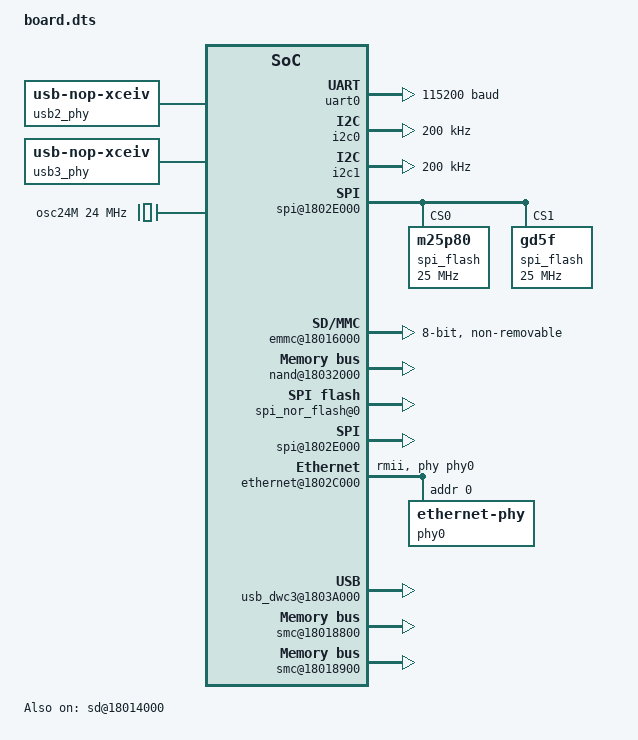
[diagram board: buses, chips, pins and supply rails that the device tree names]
/*
* ALi platform DTS
* Copyright(C) 2014 ALi Corporation. All rights reserved.
*
* This program is free software; you can redistribute it and/or modify
* it under the terms of the GNU General Public License version 2 as
* published by the Free Software Foundation.
*
* This program is distributed in the hope that it will be useful,
* but WITHOUT ANY WARRANTY; without even the implied warranty of
* MERCHANTABILITY or FITNESS FOR A PARTICULAR PURPOSE.  See the
* GNU General Public License for more details.
*/

/dts-v1/;
/include/ "ali_3505.dtsi"
/include/ "see.dtsi"
/include/ "mapping.dtsi"
/ {
	board {
		label = "M3515-demo-board";
	};

	aliases {
		serial0 = &uart0;
	};

	uart0:uart@0xB8018300{
		compatible = "ns16550a";
		reg = <0xB8018300 0x0C>;
		clock-frequency	= <1843200>;
		current-speed = <115200>;
		reg-offset = <0>;
		reg-shift = <0>;
		fifo-size = <16>;
		reg-io-width = <1>;
	};
	i2c0: i2c@0xB8018200 {
		#address-cells = <1>;
		#size-cells = <1>;
		compatible = "alitech,i2c";
		clock-names = "scb_clk";
		reg = <0xB8018200 0x20>;
		//interrupts = <18 >;
		clock-frequency = <200000>; /* 400KHz is our max, 100KHz is the processor min */
		pinctrl-names = "default";
	};
	i2c1: i2c@0xB8018700 {
		#address-cells = <1>;
		#size-cells = <1>;
		compatible = "alitech,i2c";
		clock-names = "scb_clk";
		reg = <0xB8018700 0x20>;
		//interrupts = <25>;
		clock-frequency = <200000>; /* 400KHz is our max, 100KHz is the processor min */
		pinctrl-names = "default";
	};

spi@1802E000 {
		status = "okay";
		/* NOR flash */
		spi_flash@0 {
			#address-cells = <1>;
			#size-cells = <1>;
			compatible = "m25p80";
			reg = <0>;
			spi-max-frequency = <25000000>;
			spi-cpol;
			spi-cpha;
			spi-rx-bus-width = <4>;
		};

		/* NAND flash */
		spi_flash@1 {
			#address-cells = <1>;
			#size-cells = <1>;
			compatible = "gd5f";
			reg = <1>;
			spi-max-frequency = <25000000>;
			spi-cpol;
			spi-cpha;
			spi-rx-bus-width = <4>;
			/* the follow are the MTD partitions in NAND flash */
			/* the follow are the MTD partitions in NAND flash */
				bootenv {
					reg = <0x00000000 0x00200000>;
					loadaddr = <0xFFFFFFFF>;
				};
				deviceinfo {
					reg = <0x00200000 0x0800000>;
					loadaddr = <0xFFFFFFFF>;
				};
				bootmedia {
					reg = <0x00A00000 0x00800000>;
					loadaddr = <0xFFFFFFFF>;
				};
				seebl {
					reg = <0x01600000 0x00400000>;
					loadaddr = <0x85F80000>;
				};
				SEE {
					reg = <0x01a00000 0x00800000>;
					loadaddr = <0x04000200>;
				};
				kernel {
					reg = <0x02200000 0x01000000>;
					loadaddr = <0x80100000>;
				};
				rootfs {
				reg = <0x03200000 0x3200000>;
				loadaddr = <0x8aa3f040>;
			};
		};
	};
	soc {
		interrupt-parent=<&intc>;

		sd@18014000 {
			compatible = "alitech,sd";
			reg = <0x18014000 0x1000>;
			clocks = <&cap210_clks_gate1 6>;
			clock-names = "sdio_ctrl_clk";
			bus-width = <4>;				
			max-frequency = <99000000>;
			cd = <&gpio2 20 0>;
			cd-inverted;
			wp = <&gpio0 2 0>;							
			interrupts = <42>;
			#address-cells = <1>;
			#size-cells = <1>;
			status = "okay";
		};

		emmc@18016000 {
			compatible = "alitech,emmc";
			reg = <0x18016000 0x1000>;
			clocks = <&cap210_clks_gate1 5>;
			clock-names = "emmc_ctrl_clk";
			bus-width = <8>;				
			max-frequency = <99000000>;
			non-removable;
			interrupts = <43>;
			#address-cells = <1>;
			#size-cells = <1>;

			status = "okay";
		};

		nand@18032000 {
			compatible = "ali_tech,nandctrl";
			reg = <0xb8032000 0x60>;
			interrupts=<56>;
			pinmux_reg3=<0xb8000490>;
			pinmux_reg3_bits_set=<9 10>;
			pinmux_reg3_bits_clr=<0 1 2 3 8>;
			nand_wp_gpio = <&gpio0 23 0>;
			status = "okay";
		};

		/* list of SPI devices */
		spi_nor_flash@0 {
			compatible = "ali_tech,3515_spi_nor_flash";
			reg = <0x18016000 0x1000>;
			spi-max-frequency = <19200000>;
			status = "okay";
		};

		spi@1802E000{
			compatible = "alitech,spictrl";
			reg = <0x1802E000 0xE0 0x1fc00000 0x1000
				0x1ec00000 0x1000 0x18000220 0x4
				0x18070000 0x4 0x18000088 0x4
				0x18000430 0x4>;
			interrupts=<43>;
			status = "okay";
		};

		/* list of I2C devices */

		/* ALi PinCtrl
		 * Required properties:
		 *  - compatible: must be "alitech,pinctrl-cap210"
		 *  - reg: base address and size of pinmux control register
		 *         area
		 */
		pinctrl: pinctrl@0x18000088 {
			compatible = "alitech,pinctrl-cap210";
			reg = <0x18000088 0x4 0x18000430 0x10>;
			pctrl_i2c: func_i2c {
				ali-pmx,groups = "i2c_sel";
			};
			pctrl_uart: func_uart {
				ali-pmx,groups = "uart_sel",
						 "uart_hw_sel";
			};
			pctrl_smc1: func_smc {
				ali-pmx,groups = "smc1_sel",
						 "smc2_sel",
						 "smc2_ex_sel";
			};
			pctrl_spinor: func_spinor {
				ali-pmx,groups = "spinor_sel",
						 "spinor1_sel",
						 "spinor2_sel";
			};
			pctrl_ci: func_ci {
				ali-pmx,groups = "ci_sel";
			};
			pctrl_rgmii: func_rgmii {
				ali-pmx,groups = "rgmii_sel";
			};
			pctrl_emmc: func_emmc {
				ali-pmx,groups = "emmc_sel";
			};
			pctrl_sdio: func_sdio {
				ali-pmx,groups = "sdio_sel";
			};
			pctrl_clkout: func_clkout {
				ali-pmx,groups = "clkout_sel";
			};

			eth_pin_mux: eth_pin_mux {
				ali-pmx,function = "func_rgmii";
				ali-pmx,group = "rgmii_sel";
			};
		};

		/* ALi TOE2 MAC nodes
		 * Required properties:
		 *  - compatible : Should be "alitech,cap210-toe2".
		 *  - reg : Address and length of the register set for the
		 *          device.
		 *  - interrupts : Should contain toe2 mac interrupt.
		 *  - rx-csum-enable : String, hardware rx check sum enable.
		 *                     Supported values are : "true", "flase".
		 *  - tx-csum-enable : String, hardware tx check sum enable.
		 *                     Supported values are : "true", "flase".
		 *  - phy-mode : String, operation mode of the PHY interface.
		 *               Supported values are: "mii", "gmii", "rmii",
		 *               "rgmii".
		 *  - phy-reset-gpios : GPIO used to drive phy reset (optional).
		 *  - phy-reset-duration : Reset duration in milliseconds
		 *                         (optional).
		 *  - phy-link-gpios : GPIO used to show phy light blink for
		 *                     speed and link (optional).
		 *
		 * Optional properties:
		 *  - local-mac-address : 6 bytes, mac address.
		 */
		ethernet@1802C000 {
			compatible = "alitech,cap210-toe2";
			#address-cells =<1>;
			#size-cells = <0>;
			device_type = "network";
			model = "ALI TOE2";
			reg = <0x1802C000 0x100>;
			interrupts = <46>;
			local-mac-address = [00 90 E6 00 00 0A];
			rx-csum-enable = <1>;
			tx-csum-enable = <1>;
			phy = <&phy0>;
			/*
			 * phy-reset-gpio = <&gpio2 20 0>;
			 * phy-reset-duration = <200>;
			 * phy-blink-gpios = <&gpio1 1 0 &gpio2 31 0>;
			 */
			phy-mode = "rmii";
			phy-reversemii = <0>;
			/*
			 *clocks = <&cap210_clks_gate1 13>;
			 *clock-names = "mac_clk";
			*/
			status = "okay";
			/*
			 * pinctrl-0 = <&eth_pin_mux>;
			 * pinctrl-names = "default"; 
			*/
			/* PHY nodes
			 * Required properties:
			 * - device_type : Should be "ethernet-phy"
			 * - reg : The ID number for the phy, usually a small
			 *         integer
			 */
			phy0: ethernet-phy@0 {
				reg = <0>;
				device_type = "ethernet-phy";
			};
		};

		/* list of usb dwc3 devices */
		usb2_phy: usbphy@0 {
			compatible = "usb-nop-xceiv";
			status = "okay";
		};

		usb3_phy: usbphy@1 {
			compatible = "usb-nop-xceiv";
			status = "okay";
		};

		usb_dwc3@1803A000 {
			compatible = "alitech,dwc3";
			reg = <0x1803A000 0x2000>;
			clocks = <&cap210_clks_gate0 8>;

			clock-names = "usb_clk";			
			dma-limit-range = <0x00000000 0xFFFFFFFF>;
			#address-cells = <1>;
			#size-cells = <1>;
			ranges;
			status = "okay";

			dwc3@18030000 {
				compatible = "synopsys,dwc3";
				reg = <0x18030000 0xD000>;
				interrupts = <37>;
				usb-phy = <&usb2_phy &usb3_phy>;
				status = "okay";
			};
		};
		
		wdt1@18018500 {
			compatible = "alitech,cap210-wdt";
			reg = <0x18018500 0x0A>;
			clocks = <&wdt_clk>;
			clock-names = "wdt_clk";
			timeout-secs = <10>;
			nowayout = <1>;
			wdt_mode = <32>;
		};
		wdt2@18018510 {
			compatible = "alitech,cap210-wdt";
			reg = <0x18018510 0x0A>;
			interrupts = <31>;
			clocks = <&wdt_clk>;
			clock-names = "wdt_clk";
			timeout-secs = <10>;
			nowayout = <1>;
			wdt_mode = <16>;
		};
		clktest:clktest {
			compatible = "alitech,clktest";
			clocks = <&cap210_clks_gate0 0>;
			clock-names = "ts_ip_clk";			
		};
		clocks {
			#address-cells = <1>;
			#size-cells = <1>;
			ranges;
			osc24M: osc24M {
				#clock-cells = <0>;
				compatible = "fixed-clock";
				clock-frequency = <24000000>;
				clock-output-names="osc24M";
			};
			wdt_clk:wdt_clk {
				#clock-cells = <0>;
				compatible = "fixed-clock";
				clock-frequency = <27000000>;
				clock-output-names="wdt_clk";
			};
			f100: f100 {
				#clock-cells = <0>;
				compatible = "fixed-clock";
				clock-frequency = <100000000>;
				clock-output-names="f100";
			};
			f300: f300 {
				#clock-cells = <0>;
				compatible = "fixed-clock";
				clock-frequency = <300000000>;
				clock-output-names="f300";
			};
			f400: f400 {
				#clock-cells = <0>;
				compatible = "fixed-clock";
				clock-frequency = <400000000>;
				clock-output-names="f400";
			};
			f600: f600 {
				#clock-cells = <0>;
				compatible = "fixed-clock";
				clock-frequency = <600000000>;
				clock-output-names="f600";
			};
			f266: f266 {
				#clock-cells = <0>;
				compatible = "fixed-clock";
				clock-frequency = <266000000>;
				clock-output-names="f266";
			};
			f333: f333 {
				#clock-cells = <0>;
				compatible = "fixed-clock";
				clock-frequency = <333000000>;
				clock-output-names="f333";
			};
			f533: f533 {
				#clock-cells = <0>;
				compatible = "fixed-clock";
				clock-frequency = <533000000>;
				clock-output-names="f533";
			};
			dpll: dpll@180004A4 {
				#clock-cells = <0>;
				compatible = "alitech,cap210-dpll-clk";
				reg = <0x180004A0 0x4>;
				clocks = <&osc24M>;
				clock-frequency = <624000000>;
				clock-output-names="dpll";
			};
			cap210_clk: cap210_clk@18000074 {
				#clock-cells = <1>;
				compatible = "alitech,cap210-clk";
				reg = <0x18000074 0x4 0x1800007c 0x4>;
				reg-names = "strap_pin_reg", "clk_ctrl_reg";
				clocks = <&f100>, <&f300>, <&f400>,
					 <&f600>, <&dpll>, <&f266>,
					 <&f333>, <&f400>, <&f533>;
				clock-output-names="see_clk",
						   "cpu_clk",
						   "dram_clk";
			};
			cap210_clks_gate0: cap210_clks_gate@18000060 {
				#clock-cells = <1>;
				compatible = "alitech,cap210-clks-gate";
				reg = <0x18000060 0x4>;
				gate-mask = <0x0FF80000>;
				clock-output-names="ts_ip_clk", "scr1_clk", "scr2_clk", "tm_mod_0",
					"wdt_clk_gate", "uart_clk", "scb_clk", "tm_mod_1", "usb_clk";
				 
			};
			cap210_clks_gate1: cap210_clks_gate@18000064 {
				#clock-cells = <1>;
				compatible = "alitech,cap210-clks-gate";
				reg = <0x18000064 0x4>;
				gate-mask = <0x8A13F0EF>;
				clock-output-names="bootrom_clk", "cert_ip_clk", "dsc_clk", "otp_ctrl_clk",
					"sflash_ctrl_clk", "emmc_ctrl_clk", "sdio_ctrl_clk", "sgdma0_clk",
					"sgdma1_clk", "hwchk_clk", "scramble_clk", "kl_clk", "dsc_kl",
					"mac_clk", "sb_clk", "bootrom_sram_ctrl_clk", "see_clk_gate"; 
			};
		};

		smc@18018800 {
			compatible = "alitech,smc";
			index = <0>;
			reg = <0x18018800 0x100>;
			reset = <&rst_ctrl0 20 1>;
			interrupts = <28>;
			init_clk_array = <3600000 5000000>;
			invert_power = <0>;
			invert_detect = <1>;
			en_power_open_drain = <0>;
			en_clk_open_drain = <0>;
			en_data_open_drain = <0>;
			en_rst_open_drain = <0>;
			class_gpios = <&gpio0 3 1>, <&gpio0 3 1>;
			class_a_gpio_info = <1 1>;
			class_b_gpio_info = <0 0>;
			status = "okay";
		};
	
		smc@18018900 {
			compatible = "alitech,smc";
			index = <1>;
			reg = <0x18018900 0x100>;
			reset = <&rst_ctrl0 21 1>;
			interrupts = <29>;
			init_clk_array = <3600000>;
			invert_power = <0>;
			invert_detect = <1>;		
			en_power_open_drain = <0>;
			en_clk_open_drain = <0>;
			en_data_open_drain = <0>;
			en_rst_open_drain = <0>;
			class_gpios = <&gpio2 20 1>, <&gpio2 20 1>;
			class_a_gpio_info = <1 1>;
			class_b_gpio_info = <0 0>;
			status = "okay";
		};

	};
};
